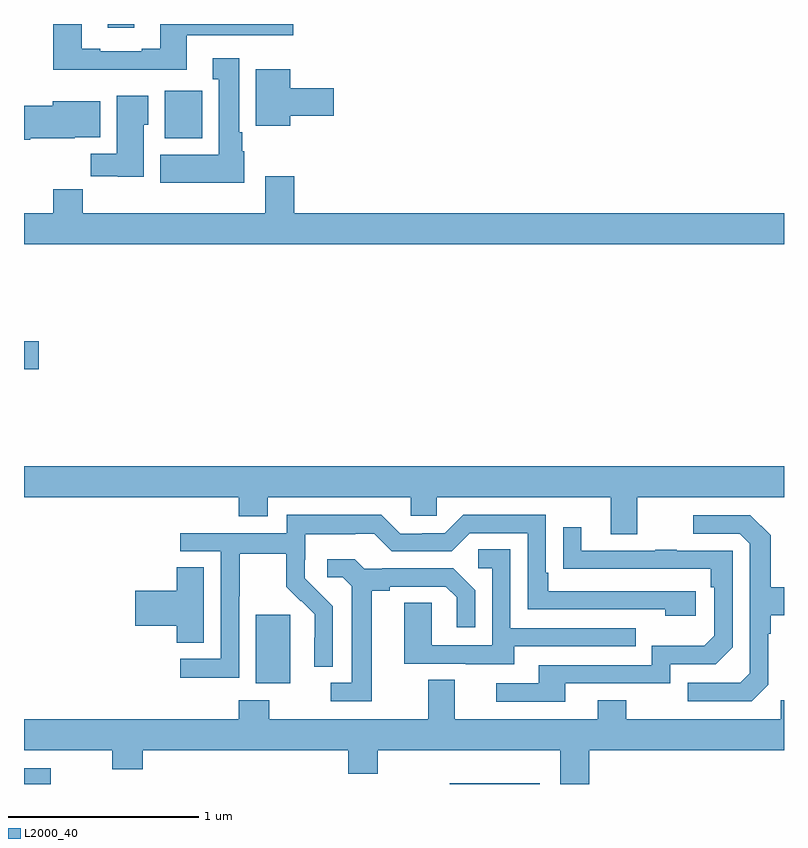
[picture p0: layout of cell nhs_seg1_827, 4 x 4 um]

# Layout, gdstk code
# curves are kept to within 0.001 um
import gdstk
lib = gdstk.Library(unit=1e-6, precision=1e-09)
def R(c, l, rs):  # rectangles x0, y0, x1, y1
    for r in rs: c.add(gdstk.rectangle(r[:2], r[2:], *l))
def P(c, l, *ps):  # polygons
    for p in ps: c.add(gdstk.Polygon(p, *l))
L2000_40 = (2000, 40)

nhs_seg1_827 = lib.new_cell('nhs_seg1_827')
R(nhs_seg1_827, L2000_40, [(155,574.199,155.14,574.281), (157.241,574.199,157.714,574.204), (156.221,574.73,156.4,575.091), (155,576.383,155.077,576.53), (155.741,577.598,155.937,577.849), (155.441,578.178,155.581,578.199)])
P(nhs_seg1_827, L2000_40, [(155.857,578.139),(156.418,578.139),(156.418,578.199),(155.717,578.199),(155.717,578.068),(155.621,578.068),(155.621,578.055),(155.401,578.055),(155.401,578.068),(155.305,578.068),(155.305,578.199),(155.153,578.199),(155.153,577.958),(155.857,577.958)],
  [(156.16,577.53),(156.148,577.53),(156.148,577.63),(156.133,577.63),(156.133,578.02),(155.993,578.02),(155.993,577.907),(156.026,577.907),(156.026,577.51),(155.717,577.51),(155.717,577.364),(156.16,577.364)],
  [(156.4,577.715),(156.631,577.715),(156.631,577.862),(156.4,577.862),(156.4,577.96),(156.221,577.96),(156.221,577.664),(156.4,577.664)],
  [(155.629,577.668),(155.653,577.668),(155.653,577.822),(155.489,577.822),(155.489,577.516),(155.35,577.516),(155.35,577.398),(155.493,577.398),(155.493,577.394),(155.629,577.394)],
  [(155.032,577.598),(155.268,577.598),(155.268,577.604),(155.401,577.604),(155.401,577.792),(155.15,577.792),(155.15,577.769),(155,577.769),(155,577.591),(155.032,577.591)],
  [(159,577.204),(156.422,577.204),(156.422,577.399),(156.269,577.399),(156.269,577.204),(155.309,577.204),(155.309,577.328),(155.153,577.328),(155.153,577.204),(155,577.204),(155,577.04),(159,577.04)],
  [(158.227,575.708),(159,575.708),(159,575.872),(155,575.872),(155,575.708),(156.131,575.708),(156.131,575.609),(156.283,575.609),(156.283,575.708),(157.035,575.708),(157.035,575.61),(157.173,575.61),(157.173,575.708),(158.087,575.708),(158.087,575.514),(158.227,575.514)],
  [(156.132,575.188),(156.135,575.188),(156.135,575.412),(156.379,575.412),(156.379,575.237),(156.456,575.16),(156.459,575.163),(156.53,575.093),(156.53,574.97),(156.528,574.97),(156.528,574.816),(156.624,574.816),(156.624,575.134),(156.478,575.282),(156.478,575.379),(156.48,575.379),(156.48,575.513),(156.743,575.513),(156.743,575.517),(156.843,575.517),(156.936,575.424),(157.251,575.424),(157.347,575.52),(157.65,575.52),(157.65,575.118),(158.375,575.118),(158.375,575.084),(158.536,575.084),(158.536,575.214),(157.759,575.214),(157.759,575.311),(157.746,575.311),(157.746,575.616),(157.311,575.616),(157.215,575.52),(157.097,575.52),(157.097,575.517),(156.981,575.517),(156.881,575.617),(156.384,575.617),(156.384,575.52),(155.823,575.52),(155.823,575.424),(156.036,575.424),(156.036,574.857),(155.823,574.857),(155.823,574.759),(156.132,574.759)],
  [(158.916,574.722),(158.916,574.991),(158.929,574.991),(158.929,575.087),(159,575.087),(159,575.235),(158.929,575.235),(158.929,575.507),(158.823,575.613),(158.523,575.613),(158.523,575.517),(158.766,575.517),(158.82,575.463),(158.82,574.782),(158.769,574.731),(158.493,574.731),(158.493,574.635),(158.829,574.635)],
  [(157.849,574.728),(158.4,574.728),(158.4,574.83),(158.64,574.83),(158.73,574.92),(158.73,575.427),(158.435,575.427),(158.435,575.432),(158.323,575.432),(158.323,575.427),(157.933,575.427),(157.933,575.551),(157.837,575.551),(157.837,575.332),(158.614,575.331),(158.614,575.234),(158.634,575.234),(158.634,574.98),(158.581,574.927),(158.304,574.927),(158.304,574.824),(157.709,574.824),(157.709,574.728),(157.485,574.728),(157.485,574.632),(157.849,574.632)],
  [(157.579,574.923),(158.219,574.923),(158.219,575.019),(157.56,575.019),(157.56,575.435),(157.392,575.435),(157.392,575.334),(157.464,575.334),(157.464,574.929),(157.146,574.929),(157.146,575.153),(157.001,575.153),(157.001,574.833),(157.325,574.833),(157.325,574.829),(157.579,574.829)],
  [(156.829,575.216),(156.925,575.216),(156.925,575.238),(157.22,575.238),(157.277,575.181),(157.277,575.025),(157.374,575.025),(157.374,575.218),(157.258,575.334),(156.886,575.334),(156.886,575.331),(156.792,575.331),(156.74,575.383),(156.597,575.383),(156.597,575.286),(156.678,575.286),(156.725,575.239),(156.725,574.731),(156.615,574.731),(156.615,574.635),(156.829,574.635)],
  [(155.947,575.339),(155.804,575.339),(155.804,575.216),(155.586,575.216),(155.586,575.033),(155.804,575.033),(155.804,574.942),(155.947,574.942)],
  [(157.976,574.376),(159,574.376),(159,574.639),(158.982,574.639),(158.982,574.54),(158.169,574.54),(158.169,574.639),(158.021,574.639),(158.021,574.54),(157.267,574.54),(157.267,574.748),(157.127,574.748),(157.127,574.54),(156.291,574.54),(156.291,574.639),(156.131,574.639),(156.131,574.54),(155,574.54),(155,574.376),(155.464,574.376),(155.464,574.277),(155.624,574.277),(155.624,574.376),(156.707,574.376),(156.707,574.252),(156.863,574.252),(156.863,574.376),(157.823,574.376),(157.823,574.199),(157.976,574.199)])

lib.write_gds('nhs_seg1_827.gds')
